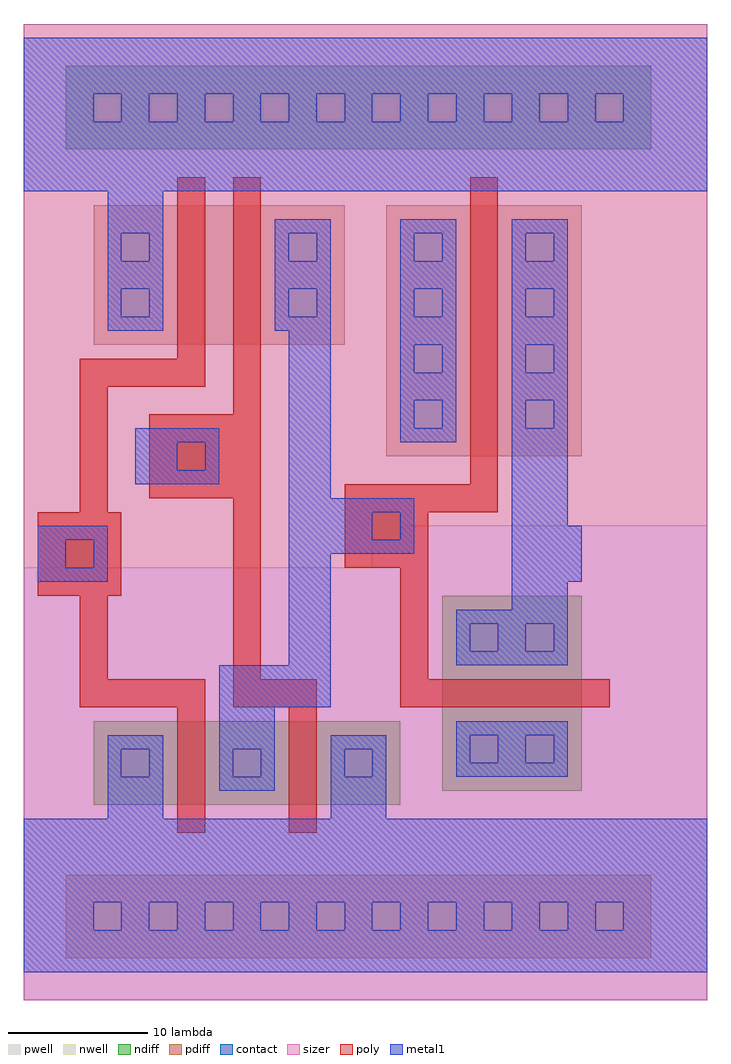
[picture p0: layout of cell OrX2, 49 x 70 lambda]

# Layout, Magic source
magic
tech LibreSilicon-test000-concept-mg-70-7
<< sizer >>
rect 0 0 49 70
<< metal1 >>
rect 0 65 49 69
rect 0 63 5 65
rect 7 63 9 65
rect 11 63 13 65
rect 15 63 17 65
rect 19 63 21 65
rect 23 63 25 65
rect 27 63 29 65
rect 31 63 33 65
rect 35 63 37 65
rect 39 63 41 65
rect 43 63 49 65
rect 0 58 49 63
rect 6 55 10 58
rect 18 55 22 56
rect 27 55 31 56
rect 35 55 39 56
rect 6 53 7 55
rect 9 53 10 55
rect 18 53 19 55
rect 21 53 22 55
rect 27 53 28 55
rect 30 53 31 55
rect 35 53 36 55
rect 38 53 39 55
rect 6 51 10 53
rect 18 51 22 53
rect 27 51 31 53
rect 35 51 39 53
rect 6 49 7 51
rect 9 49 10 51
rect 18 49 19 51
rect 21 49 22 51
rect 27 49 28 51
rect 30 49 31 51
rect 35 49 36 51
rect 38 49 39 51
rect 6 48 10 49
rect 18 48 22 49
rect 27 47 31 49
rect 35 47 39 49
rect 19 36 22 48
rect 27 45 28 47
rect 30 45 31 47
rect 35 45 36 47
rect 38 45 39 47
rect 27 43 31 45
rect 35 43 39 45
rect 27 41 28 43
rect 30 41 31 43
rect 35 41 36 43
rect 38 41 39 43
rect 8 40 14 41
rect 27 40 31 41
rect 35 34 39 41
rect 8 38 11 40
rect 13 38 14 40
rect 8 37 14 38
rect 19 35 28 36
rect 19 33 25 35
rect 27 33 28 35
rect 1 33 6 34
rect 35 30 40 34
rect 1 31 3 33
rect 5 31 6 33
rect 19 32 28 33
rect 19 24 22 32
rect 1 30 6 31
rect 35 28 39 30
rect 31 27 39 28
rect 31 25 32 27
rect 34 25 36 27
rect 38 25 39 27
rect 31 24 39 25
rect 14 21 22 24
rect 14 18 18 21
rect 31 19 39 20
rect 6 18 10 19
rect 22 18 26 19
rect 31 17 32 19
rect 34 17 36 19
rect 38 17 39 19
rect 6 16 7 18
rect 9 16 10 18
rect 14 16 15 18
rect 17 16 18 18
rect 22 16 23 18
rect 25 16 26 18
rect 31 16 39 17
rect 6 13 10 16
rect 14 15 18 16
rect 22 13 26 16
rect 0 7 49 13
rect 0 5 5 7
rect 7 5 9 7
rect 11 5 13 7
rect 15 5 17 7
rect 19 5 21 7
rect 23 5 25 7
rect 27 5 29 7
rect 31 5 33 7
rect 35 5 37 7
rect 39 5 41 7
rect 43 5 49 7
rect 0 2 49 5
<< contact >>
rect 5 63 7 65
rect 9 63 11 65
rect 13 63 15 65
rect 17 63 19 65
rect 21 63 23 65
rect 25 63 27 65
rect 29 63 31 65
rect 33 63 35 65
rect 37 63 39 65
rect 41 63 43 65
rect 7 53 9 55
rect 19 53 21 55
rect 28 53 30 55
rect 36 53 38 55
rect 7 49 9 51
rect 19 49 21 51
rect 28 49 30 51
rect 36 49 38 51
rect 28 45 30 47
rect 36 45 38 47
rect 28 41 30 43
rect 36 41 38 43
rect 11 38 13 40
rect 25 33 27 35
rect 3 31 5 33
rect 32 25 34 27
rect 36 25 38 27
rect 32 17 34 19
rect 36 17 38 19
rect 7 16 9 18
rect 15 16 17 18
rect 23 16 25 18
rect 5 5 7 7
rect 9 5 11 7
rect 13 5 15 7
rect 17 5 19 7
rect 21 5 23 7
rect 25 5 27 7
rect 29 5 31 7
rect 33 5 35 7
rect 37 5 39 7
rect 41 5 43 7
<< poly >>
rect 11 46 13 59
rect 15 42 17 59
rect 32 37 34 59
rect 4 44 13 46
rect 4 35 6 44
rect 9 36 17 42
rect 23 35 34 37
rect 15 23 17 36
rect 1 29 7 35
rect 23 31 29 35
rect 27 23 29 31
rect 4 23 6 29
rect 4 21 13 23
rect 15 21 21 23
rect 27 21 42 23
rect 11 12 13 21
rect 19 12 21 21
<< ndiff >>
rect 3 61 45 67
rect 30 15 40 29
rect 5 14 27 20
<< pdiff >>
rect 5 47 23 57
rect 26 39 40 57
rect 3 3 45 9
<< nwell >>
rect 0 34 49 70
rect 0 31 25 34
<< pwell >>
rect 25 31 49 34
rect 0 0 49 31
<< end >>
